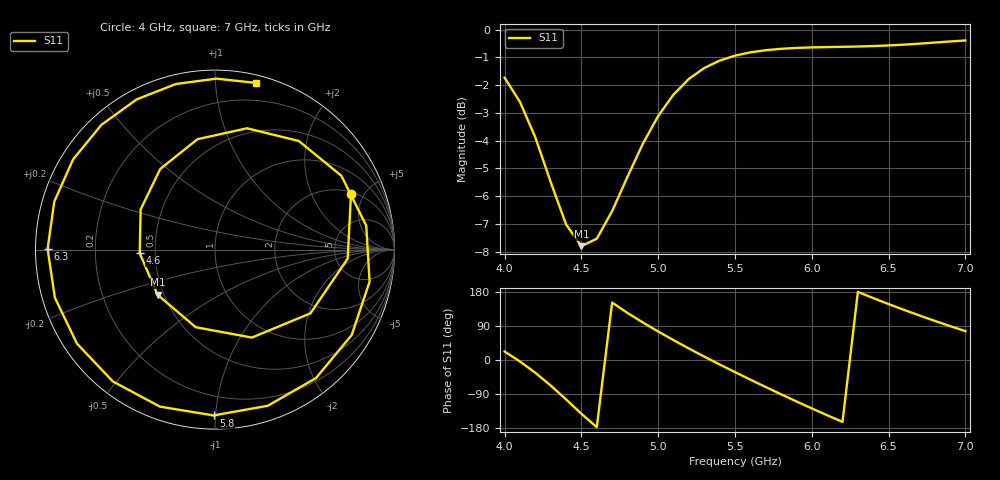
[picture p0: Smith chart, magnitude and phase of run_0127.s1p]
! Touchstone file exported from HFSS 2024.2.0
!  File:  C:/Users/wsak9/Desktop/Sim Fast/Widenad Patch/WP_AI_V1_sweep.aedt
!  Generated:  08:12:36 PM Oct 13, 2026
!  Design:  A1_model
!  Project:  WP_AI_V1_sweep
!  Setup:  Setup1
!  Solution:  Sweep
! Variables:
!  Air_gap = 4.32mm
!  Curve_Amp1 = 0.79
!  Curve_len1 = 1
!  Curve_pos = 12.77mm
!  Extra = 3.89mm
!  H_sub = 0.79mm
!  L_Patch = 21.54mm
!  L_Patch1 = 19.48mm
!  Sx = 1.11mm
!  Sy = 4.18mm
!  WS = 0.99mm
!  W_Patch = 10.3mm
!  W_Patch1 = 15.59mm
!Data is not renormalized
# GHz S MA
! Terminal data exported
! Port[1] = 1
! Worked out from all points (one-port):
!   31 points, 4 GHz to 7 GHz, reference per port
!   lowest |S11| = -7.8 dB at 4.5 GHz (marker M1), VSWR 2.37
!   |S11| at or under -10 dB: nowhere
!   S11 on the Smith chart (normalised r, x): 4 GHz: 2.11, +4.00; 4.6 GHz: 0.41, -0.02; 5.8 GHz: 0.08, -0.99; 6.3 GHz: 0.03, +0.00; 7 GHz: 0.06, +1.27
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4  0.8194 22.4
4.1  0.7409 -3.9
4.2  0.6395 -33.7
4.3  0.5314 -67.3
4.4  0.4456 -104.0
4.5  0.4071 -141.9
4.6  0.42 -177.3
4.7  0.4708 151.6
4.8  0.5431 124.2
4.9  0.6228 99.0
5  0.6991 75.2
5.1  0.7643 52.4
5.2  0.8155 30.3
5.3  0.8531 9.0
5.4  0.8797 -11.8
5.5  0.898 -32.0
5.6  0.9103 -51.8
5.7  0.9185 -71.3
5.8  0.9238 -90.5
5.9  0.9272 -109.3
6  0.9292 -127.8
6.1  0.9305 -145.8
6.2  0.9315 -163.3
6.3  0.9327 179.7
6.5  0.9369 147.6
6.7  0.9439 117.6
6.8  0.9481 103.3
7  0.9565 76.2
